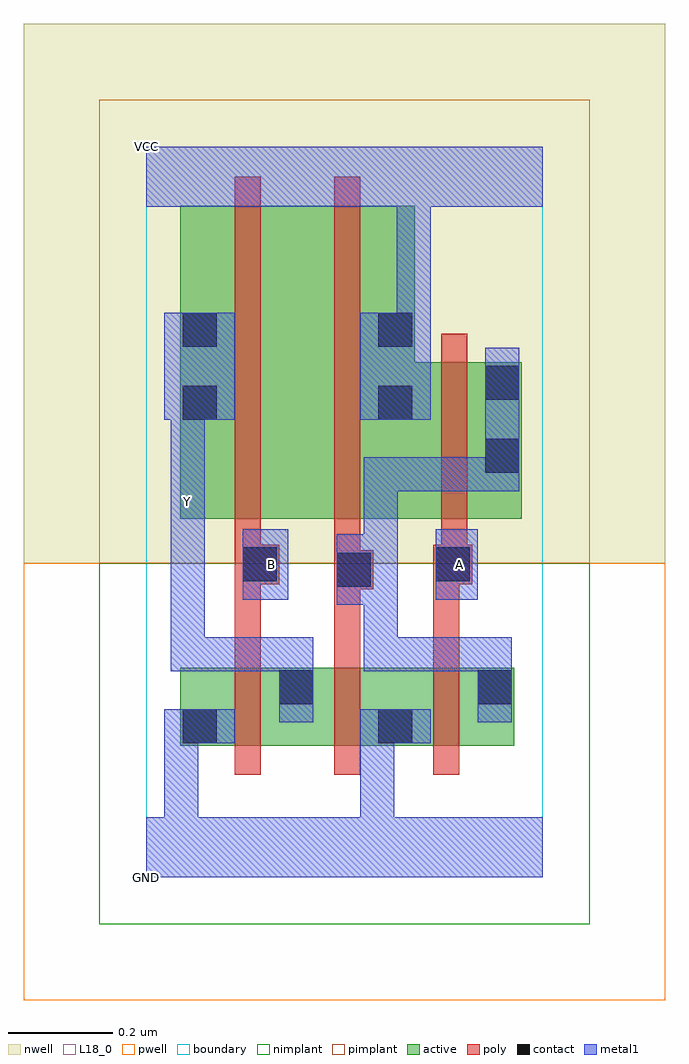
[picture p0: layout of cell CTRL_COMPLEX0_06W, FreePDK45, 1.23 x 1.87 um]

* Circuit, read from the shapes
.subckt CTRL_COMPLEX0_06W A B GND VCC Y
M1 Y B GND VSUBS nfet w=0.15u l=0.05u
M2 GND n1 Y VSUBS nfet w=0.15u l=0.05u
M3 n1 A GND VSUBS nfet w=0.15u l=0.05u
M4 n2 B Y n3 pfet w=0.6u l=0.05u
M5 VCC n1 n2 n3 pfet w=0.6u l=0.05u
M6 n1 A VCC n3 pfet w=0.3u l=0.05u
.ends

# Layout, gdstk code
import gdstk
lib = gdstk.Library(unit=1e-6, precision=1e-09)
def R(c, l, rs):  # rectangles x0, y0, x1, y1
    for r in rs: c.add(gdstk.rectangle(r[:2], r[2:], *l))
def A(c, l, x, y, w, h, nx, ny, dx, dy):  # array of equal rectangles
    R(c, l, [(x+i*dx, y+j*dy, x+i*dx+w, y+j*dy+h) for i in range(nx) for j in range(ny)])
active = (1, 0)
pwell = (2, 0)
nwell = (3, 0)
nimplant = (4, 0)
pimplant = (5, 0)
poly = (9, 0)
contact = (10, 0)
metal1 = (11, 0)
L18_0 = (18, 0)
boundary = (235, 0)

ctrl_complex0_06w = lib.new_cell('CTRL_COMPLEX0_06W')
R(ctrl_complex0_06w, active, [(0.065,0.252,0.14,0.402), (0.065,0.252,0.325,0.402), (0.25,0.252,0.325,0.402), (0.25,0.252,0.515,0.402), (0.44,0.252,0.705,0.402), (0.44,0.252,0.515,0.327), (0.63,0.252,0.705,0.402), (0.065,0.687,0.29,1.287), (0.065,0.687,0.17,1.2), (0.29,0.687,0.515,1.287), (0.44,0.687,0.72,0.987), (0.645,0.687,0.72,0.985), (0.44,0.872,0.515,1.087)])
R(ctrl_complex0_06w, pwell, [(-0.235,-0.235,0.995,0.602)])
R(ctrl_complex0_06w, nwell, [(-0.235,0.602,0.995,1.635)])
R(ctrl_complex0_06w, nimplant, [(-0.09,-0.09,0.85,0.602)])
R(ctrl_complex0_06w, pimplant, [(-0.09,0.602,0.85,1.49)])
A(ctrl_complex0_06w, poly, 0.17, 0.197, 0.05, 0.26, 3, 1, 0.19, 0)
R(ctrl_complex0_06w, poly, [(0.17,0.407,0.22,0.612), (0.36,0.407,0.41,0.602), (0.55,0.407,0.6,0.612), (0.36,0.552,0.435,0.627), (0.17,0.562,0.255,0.637), (0.55,0.562,0.625,0.637), (0.36,0.577,0.41,0.682), (0.17,0.587,0.22,0.682), (0.565,0.587,0.615,0.682), (0.17,0.632,0.22,1.342), (0.36,0.632,0.41,1.342), (0.565,0.632,0.615,1.042)])
R(ctrl_complex0_06w, contact, [(0.07,0.257,0.135,0.322), (0.445,0.257,0.51,0.322), (0.255,0.332,0.32,0.397), (0.635,0.332,0.7,0.397), (0.365,0.557,0.43,0.622), (0.185,0.567,0.25,0.632), (0.555,0.567,0.62,0.632), (0.65,0.775,0.715,0.84), (0.07,0.877,0.135,0.942), (0.445,0.877,0.51,0.942), (0.65,0.915,0.715,0.98), (0.07,1.017,0.135,1.082), (0.445,1.017,0.51,1.082)])
R(ctrl_complex0_06w, metal1, [(0,0,0.76,0.115), (0.035,0.05,0.1,0.115), (0.035,0.05,0.1,0.115), (0.035,0.05,0.1,0.322), (0.41,0.05,0.475,0.115), (0.41,0.05,0.475,0.115), (0.41,0.05,0.475,0.322), (0.035,0.257,0.1,0.322), (0.035,0.257,0.1,0.322), (0.035,0.257,0.17,0.322), (0.41,0.257,0.475,0.322), (0.41,0.257,0.475,0.322), (0.41,0.257,0.545,0.322), (0.255,0.297,0.32,0.46), (0.635,0.297,0.7,0.432), (0.635,0.367,0.7,0.432), (0.635,0.367,0.7,0.46), (0.047,0.395,0.112,0.46), (0.047,0.395,0.112,0.46), (0.047,0.395,0.112,0.46), (0.047,0.395,0.32,0.46), (0.047,0.395,0.112,0.717), (0.417,0.395,0.482,0.46), (0.417,0.395,0.7,0.46), (0.417,0.395,0.482,0.657), (0.365,0.522,0.43,0.657), (0.185,0.532,0.272,0.667), (0.555,0.532,0.635,0.667), (0.365,0.592,0.482,0.657), (0.417,0.592,0.482,0.657), (0.417,0.592,0.482,0.805), (0.047,0.652,0.112,0.787), (0.047,0.722,0.112,0.942), (0.417,0.74,0.482,0.805), (0.417,0.74,0.715,0.805), (0.65,0.74,0.715,0.805), (0.65,0.74,0.715,0.805), (0.65,0.74,0.715,1.015), (0.035,0.877,0.17,1.082), (0.41,0.877,0.545,1.082), (0.48,1.017,0.545,1.35), (0,1.285,0.76,1.4)])
R(ctrl_complex0_06w, L18_0, [(0,0,0.76,0.115), (0.035,0.05,0.1,0.115), (0.035,0.05,0.1,0.115), (0.035,0.05,0.1,0.322), (0.41,0.05,0.475,0.115), (0.41,0.05,0.475,0.115), (0.41,0.05,0.475,0.322), (0.035,0.257,0.1,0.322), (0.035,0.257,0.1,0.322), (0.035,0.257,0.17,0.322), (0.41,0.257,0.475,0.322), (0.41,0.257,0.475,0.322), (0.41,0.257,0.545,0.322), (0.255,0.297,0.32,0.46), (0.047,0.395,0.112,0.46), (0.047,0.395,0.112,0.46), (0.047,0.395,0.112,0.46), (0.047,0.395,0.112,0.717), (0.047,0.395,0.32,0.46), (0.185,0.532,0.272,0.667), (0.555,0.532,0.635,0.667), (0.207,0.567,0.272,0.632), (0.567,0.567,0.632,0.632), (0.047,0.652,0.112,0.787), (0.047,0.687,0.112,0.752), (0.047,0.722,0.112,0.942), (0.035,0.877,0.17,1.082), (0.41,0.877,0.545,1.082), (0.48,1.017,0.545,1.35), (0,1.285,0.76,1.4)])
R(ctrl_complex0_06w, boundary, [(0,0,0.76,1.4)])
ctrl_complex0_06w.add(gdstk.Label('A', (0.6,0.6), layer=11, texttype=0))
ctrl_complex0_06w.add(gdstk.Label('B', (0.24,0.6), layer=11, texttype=0))
ctrl_complex0_06w.add(gdstk.Label('Y', (0.08,0.72), layer=11, texttype=0))
ctrl_complex0_06w.add(gdstk.Label('VCC', (0,1.4), layer=11, texttype=0))
ctrl_complex0_06w.add(gdstk.Label('GND', (0,0), layer=11, texttype=0))

lib.write_gds('CTRL_COMPLEX0_06W.gds')
